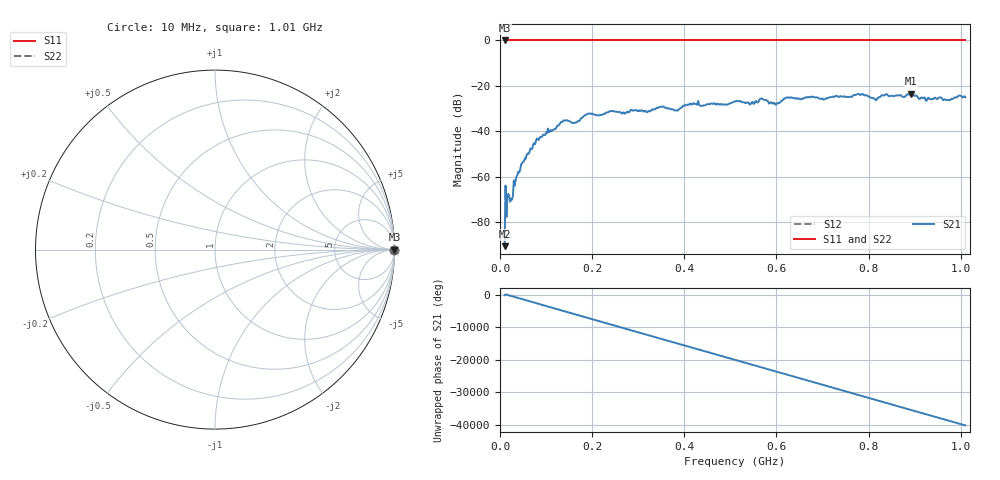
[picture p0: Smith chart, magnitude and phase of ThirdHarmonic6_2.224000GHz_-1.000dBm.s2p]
! 8/17/2025 2:29:01 AM
! C:\ANRITSUVNA\TEMP\TEMP.S2P
! CHANNEL.1
! TR.MEASUREMENT
! RAW.DATA
! RF.CORRECTION.OFF
! AVERAGING.OFF
! IF.BANDWIDTH: 5KHZ
! SWEEPTYPE:  FREQ.SWEEP(Linear)
! Reference Plane Port Info
! PORT:  PORT1  PORT2
! DISTANCE:  0  m  0  m
! TIME:  0  s  0  s
! PHASE.OFFSET:  0  deg.  0  deg.
! LOSS:  0  dB  0  dB
! REF.LOSS:  0  dB  0  dB
! REF.FREQ:  0  Hz  0  Hz
! Power Info
! POWER:  -20  dBm  -20  dBm
! EFF.POWER:  -20  dBm  -20  dBm
! SOURCE.ATTEN:  0  dB  0  dB
! TEST.ATTEN:  0  dB  0  dB
# GHZ S RI R 50.0
! FREQ.GHZ  S11RE  S11IM  S21RE  S21IM  S12RE  S12IM  S22RE  S22IM
!; PortSelection: Port_12
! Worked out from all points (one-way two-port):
!   501 points, 10 MHz to 1.01 GHz, reference 50 ohm
!   highest |S21| = -23.51 dB at 892 MHz (marker M1); lowest = -90.6 dB at 10 MHz (marker M2)
!   lowest |S11| = 0.0 dB at 10 MHz (marker M3)
!   |S11| at or under -10 dB: nowhere
!   |S22| runs from 0.0 to 0.0 dB; largest |S21 - S12| = 1.1
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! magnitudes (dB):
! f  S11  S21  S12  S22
! 10 MHz  0.0  -90.6  0.0  0.0
! 16 MHz  0.0  -68.9  0.0  0.0
! 24 MHz  0.0  -69.9  0.0  0.0
! 34 MHz  0.0  -61.3  0.0  0.0
! 44 MHz  0.0  -56.7  0.0  0.0
! 76 MHz  0.0  -45.7  0.0  0.0
! 136 MHz  0.0  -35.7  0.0  0.0
! 162 MHz  0.0  -36.2  0.0  0.0
! 178 MHz  0.0  -34.0  0.0  0.0
! 344 MHz  0.0  -29.6  0.0  0.0
! 382 MHz  0.0  -30.7  0.0  0.0
! 416 MHz  0.0  -28.2  0.0  0.0
! 510 MHz  0.0  -26.9  0.0  0.0
! 546 MHz  0.0  -27.3  0.0  0.0
! 568 MHz  0.0  -25.5  0.0  0.0
! 602 MHz  0.0  -27.5  0.0  0.0
! 622 MHz  0.0  -25.2  0.0  0.0
! 678 MHz  0.0  -24.8  0.0  0.0
! 844 MHz  0.0  -24.6  0.0  0.0
! 892 MHz  0.0  -23.5  0.0  0.0
! 928 MHz  0.0  -25.5  0.0  0.0
! 1.01 GHz  0.0  -25.0  0.0  0.0
